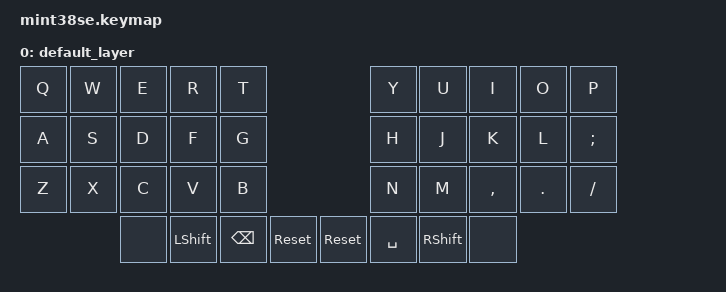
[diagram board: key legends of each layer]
#include <behaviors.dtsi>
#include <dt-bindings/zmk/keys.h>

/ {
    keymap {
        compatible = "zmk,keymap";

        default_layer {
            bindings = <
                &kp Q     &kp W     &kp E     &kp R       &kp T                             &kp Y      &kp U       &kp I      &kp O     &kp P
                &kp A     &kp S     &kp D     &kp F       &kp G                             &kp H      &kp J       &kp K      &kp L     &kp SEMI
                &kp Z     &kp X     &kp C     &kp V       &kp B                             &kp N      &kp M       &kp COMMA  &kp DOT   &kp FSLH
                                    &none     &kp LSHIFT  &kp BSPC  &sys_reset  &sys_reset  &kp SPACE  &kp RSHIFT  &none
            >;
        };
    };
};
